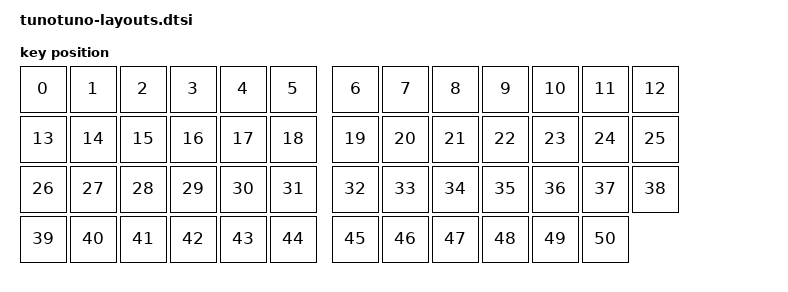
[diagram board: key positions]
// See https://zmk.dev/docs/development/hardware-integration/physical-layouts
// for how to configure this.


// See https://zmk.dev/docs/development/hardware-integration/physical-layouts
// for how to configure this.
//
// NOTE: x/y below is a simple ortholinear placeholder grid derived only from
// the logical (row, col) matrix position (NOT real PCB/keycap coordinates,
// which aren't finalized yet). The ORDER of entries matches default_transform's
// map exactly (Raw0 left->right, Raw1, Raw2, Raw3) -- that order is what
// matters for correct firmware operation. Adjust x/y/rot later to reflect the
// real physical layout (column stagger, thumb-cluster fan-out, etc.) -- this
// only affects the ZMK Studio visual editor, not firmware behavior.
// Units: 100 = 1u (one standard keycap width/height). Gap of 0.25u inserted
// between the two halves for readability.

#include <physical_layouts.dtsi>

/ {
    default_layout: default_layout {
        compatible = "zmk,physical-layout";
        display-name = "Default Layout";
        transform = <&default_transform>;
        kscan = <&kscan>;

        keys  //                     w   h    x    y     rot    rx    ry
            = <&key_physical_attrs 100 100    0    0   0   0   0>  // Raw0 left Col0
            , <&key_physical_attrs 100 100  100    0   0   0   0>  // Raw0 left Col1
            , <&key_physical_attrs 100 100  200    0   0   0   0>  // Raw0 left Col2
            , <&key_physical_attrs 100 100  300    0   0   0   0>  // Raw0 left Col3
            , <&key_physical_attrs 100 100  400    0   0   0   0>  // Raw0 left Col4
            , <&key_physical_attrs 100 100  500    0   0   0   0>  // Raw0 left Col5
            , <&key_physical_attrs 100 100  625    0   0   0   0>  // Raw0 right Col0
            , <&key_physical_attrs 100 100  725    0   0   0   0>  // Raw0 right Col1
            , <&key_physical_attrs 100 100  825    0   0   0   0>  // Raw0 right Col2
            , <&key_physical_attrs 100 100  925    0   0   0   0>  // Raw0 right Col3
            , <&key_physical_attrs 100 100 1025    0   0   0   0>  // Raw0 right Col4
            , <&key_physical_attrs 100 100 1125    0   0   0   0>  // Raw0 right Col5
            , <&key_physical_attrs 100 100 1225    0   0   0   0>  // Raw0 right Col6
            , <&key_physical_attrs 100 100    0  100   0   0   0>  // Raw1 left Col0
            , <&key_physical_attrs 100 100  100  100   0   0   0>  // Raw1 left Col1
            , <&key_physical_attrs 100 100  200  100   0   0   0>  // Raw1 left Col2
            , <&key_physical_attrs 100 100  300  100   0   0   0>  // Raw1 left Col3
            , <&key_physical_attrs 100 100  400  100   0   0   0>  // Raw1 left Col4
            , <&key_physical_attrs 100 100  500  100   0   0   0>  // Raw1 left Col5
            , <&key_physical_attrs 100 100  625  100   0   0   0>  // Raw1 right Col0
            , <&key_physical_attrs 100 100  725  100   0   0   0>  // Raw1 right Col1
            , <&key_physical_attrs 100 100  825  100   0   0   0>  // Raw1 right Col2
            , <&key_physical_attrs 100 100  925  100   0   0   0>  // Raw1 right Col3
            , <&key_physical_attrs 100 100 1025  100   0   0   0>  // Raw1 right Col4
            , <&key_physical_attrs 100 100 1125  100   0   0   0>  // Raw1 right Col5
            , <&key_physical_attrs 100 100 1225  100   0   0   0>  // Raw1 right Col6
            , <&key_physical_attrs 100 100    0  200   0   0   0>  // Raw2 left Col0
            , <&key_physical_attrs 100 100  100  200   0   0   0>  // Raw2 left Col1
            , <&key_physical_attrs 100 100  200  200   0   0   0>  // Raw2 left Col2
            , <&key_physical_attrs 100 100  300  200   0   0   0>  // Raw2 left Col3
            , <&key_physical_attrs 100 100  400  200   0   0   0>  // Raw2 left Col4
            , <&key_physical_attrs 100 100  500  200   0   0   0>  // Raw2 left Col5
            , <&key_physical_attrs 100 100  625  200   0   0   0>  // Raw2 right Col0
            , <&key_physical_attrs 100 100  725  200   0   0   0>  // Raw2 right Col1
            , <&key_physical_attrs 100 100  825  200   0   0   0>  // Raw2 right Col2
            , <&key_physical_attrs 100 100  925  200   0   0   0>  // Raw2 right Col3
            , <&key_physical_attrs 100 100 1025  200   0   0   0>  // Raw2 right Col4
            , <&key_physical_attrs 100 100 1125  200   0   0   0>  // Raw2 right Col5
            , <&key_physical_attrs 100 100 1225  200   0   0   0>  // Raw2 right Col6
            , <&key_physical_attrs 100 100    0  300   0   0   0>  // Raw3 left Col0
            , <&key_physical_attrs 100 100  100  300   0   0   0>  // Raw3 left Col1
            , <&key_physical_attrs 100 100  200  300   0   0   0>  // Raw3 left Col2
            , <&key_physical_attrs 100 100  300  300   0   0   0>  // Raw3 left Col3
            , <&key_physical_attrs 100 100  400  300   0   0   0>  // Raw3 left Col4
            , <&key_physical_attrs 100 100  500  300   0   0   0>  // Raw3 left Col5
            , <&key_physical_attrs 100 100  625  300   0   0   0>  // Raw3 right Col0 (SW4)
            , <&key_physical_attrs 100 100  725  300   0   0   0>  // Raw3 right Col1 (S1.5)
            , <&key_physical_attrs 100 100  825  300   0   0   0>  // Raw3 right Col2 (S1.4)
            , <&key_physical_attrs 100 100  925  300   0   0   0>  // Raw3 right Col3 (S1.2)
            , <&key_physical_attrs 100 100 1025  300   0   0   0>  // Raw3 right Col4 (S1.1)
            , <&key_physical_attrs 100 100 1125  300   0   0   0>  // Raw3 right Col5 (S1.3)
            ;
    };
};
